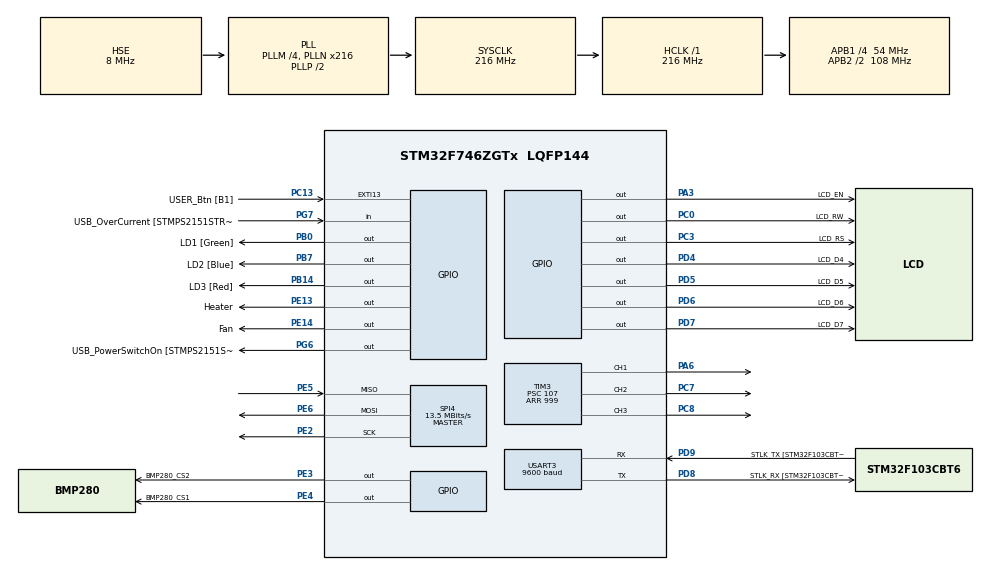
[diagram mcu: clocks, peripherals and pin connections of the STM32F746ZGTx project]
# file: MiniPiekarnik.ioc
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Mcu.Family=STM32F7
Mcu.Name=STM32F746ZGTx
Mcu.Package=LQFP144
NVIC.PriorityGroup=NVIC_PRIORITYGROUP_4
NVIC.TIM2_IRQn=true\:0\:0\:false\:false\:true\:true\:true
NVIC.USART3_IRQn=true\:0\:0\:false\:false\:true\:true\:true
PA1.GPIO_Label=RMII_REF_CLK [LAN8742A-CZ-TR_REFCLK0]
PA1.Signal=ETH_REF_CLK
PA10.GPIO_Label=USB_ID
PA10.Signal=USB_OTG_FS_ID
PA11.GPIO_Label=USB_DM
PA11.Signal=USB_OTG_FS_DM
PA12.GPIO_Label=USB_DP
PA12.Signal=USB_OTG_FS_DP
PA13.GPIO_Label=TMS
PA13.Mode=Serial_Wire
PA13.Signal=SYS_JTMS-SWDIO
PA14.GPIO_Label=TCK
PA14.Mode=Serial_Wire
PA14.Signal=SYS_JTCK-SWCLK
PA2.GPIO_Label=RMII_MDIO [LAN8742A-CZ-TR_MDIO]
PA2.Signal=ETH_MDIO
PA3.GPIO_Label=LCD_EN
PA3.Signal=GPIO_Output
PA6.Signal=S_TIM3_CH1
PA7.GPIO_Label=RMII_CRS_DV [LAN8742A-CZ-TR_CRS_DV]
PA7.Signal=ETH_CRS_DV
PA8.GPIO_Label=USB_SOF [TP1]
PA8.Signal=USB_OTG_FS_SOF
PA9.GPIO_Label=USB_VBUS
PA9.Signal=USB_OTG_FS_VBUS
PB0.GPIO_Label=LD1 [Green]
PB0.Signal=GPIO_Output
PB13.GPIO_Label=RMII_TXD1 [LAN8742A-CZ-TR_TXD1]
PB13.Signal=ETH_TXD1
PB14.GPIO_Label=LD3 [Red]
PB14.Signal=GPIO_Output
PB3.GPIO_Label=SW0
PB3.Signal=SYS_JTDO-SWO
PB7.GPIO_Label=LD2 [Blue]
PB7.Signal=GPIO_Output
PC0.GPIO_Label=LCD_RW
PC0.Signal=GPIO_Output
PC1.GPIO_Label=RMII_MDC [LAN8742A-CZ-TR_MDC]
PC1.Signal=ETH_MDC
PC13.GPIO_Label=USER_Btn [B1]
PC13.Signal=GPXTI13
PC14/OSC32_IN.Mode=LSE-External-Oscillator
PC14/OSC32_IN.Signal=RCC_OSC32_IN
PC15/OSC32_OUT.Mode=LSE-External-Oscillator
PC15/OSC32_OUT.Signal=RCC_OSC32_OUT
PC3.GPIO_Label=LCD_RS
PC3.Signal=GPIO_Output
PC4.GPIO_Label=RMII_RXD0 [LAN8742A-CZ-TR_RXD0]
PC4.Signal=ETH_RXD0
PC5.GPIO_Label=RMII_RXD1 [LAN8742A-CZ-TR_RXD1]
PC5.Signal=ETH_RXD1
PC7.Signal=S_TIM3_CH2
PC8.Signal=S_TIM3_CH3
PD4.GPIO_Label=LCD_D4
PD4.Signal=GPIO_Output
PD5.GPIO_Label=LCD_D5
PD5.Signal=GPIO_Output
PD6.GPIO_Label=LCD_D6
PD6.Signal=GPIO_Output
PD7.GPIO_Label=LCD_D7
PD7.Signal=GPIO_Output
PD8.GPIO_Label=STLK_RX [STM32F103CBT6_PA3]
PD8.Mode=Asynchronous
PD8.Signal=USART3_TX
PD9.GPIO_Label=STLK_TX [STM32F103CBT6_PA2]
PD9.Mode=Asynchronous
PD9.Signal=USART3_RX
PE13.GPIO_Label=Heater
PE13.Signal=GPIO_Output
PE14.GPIO_Label=Fan
PE14.Signal=GPIO_Output
PE2.Mode=Full_Duplex_Master
PE2.Signal=SPI4_SCK
PE3.GPIO_Label=BMP280_CS2
PE3.Signal=GPIO_Output
PE4.GPIO_Label=BMP280_CS1
PE4.GPIO_Speed=GPIO_SPEED_FREQ_VERY_HIGH
PE4.PinState=GPIO_PIN_SET
PE4.Signal=GPIO_Output
PE5.Mode=Full_Duplex_Master
PE5.Signal=SPI4_MISO
PE6.Mode=Full_Duplex_Master
PE6.Signal=SPI4_MOSI
PG11.GPIO_Label=RMII_TX_EN [LAN8742A-CZ-TR_TXEN]
PG11.Signal=ETH_TX_EN
PG13.GPIO_Label=RMII_TXD0 [LAN8742A-CZ-TR_TXD0]
PG13.Signal=ETH_TXD0
PG6.GPIO_Label=USB_PowerSwitchOn [STMPS2151STR_EN]
PG6.Signal=GPIO_Output
PG7.GPIO_Label=USB_OverCurrent [STMPS2151STR_FAULT]
PG7.Signal=GPIO_Input
PH0/OSC_IN.GPIO_Label=MCO [STM32F103CBT6_PA8]
PH0/OSC_IN.Mode=HSE-External-Clock-Source
PH0/OSC_IN.Signal=RCC_OSC_IN
PH1/OSC_OUT.Mode=HSE-External-Clock-Source
PH1/OSC_OUT.Signal=RCC_OSC_OUT
ProjectManager.HeapSize=0x200
ProjectManager.StackSize=0x400
ProjectManager.TargetToolchain=STM32CubeIDE
RCC.48MHZClocksFreq_Value=24000000
RCC.AHBFreq_Value=216000000
RCC.APB1CLKDivider=RCC_HCLK_DIV4
RCC.APB1Freq_Value=54000000
RCC.APB1TimFreq_Value=108000000
RCC.APB2CLKDivider=RCC_HCLK_DIV2
RCC.APB2Freq_Value=108000000
RCC.APB2TimFreq_Value=216000000
RCC.CortexFreq_Value=216000000
RCC.HCLKFreq_Value=216000000
RCC.HSE_VALUE=8000000
RCC.HSI_VALUE=16000000
RCC.PLLM=4
RCC.PLLMUL=RCC_PLL_MUL9
RCC.PLLN=216
RCC.PLLQ=3
RCC.PLLSourceVirtual=RCC_PLLSOURCE_HSE
RCC.PRESCALERUSB=RCC_USBCLKSOURCE_PLL_DIV1_5
RCC.SYSCLKFreq_VALUE=216000000
RCC.SYSCLKSource=RCC_SYSCLKSOURCE_PLLCLK
RCC.SYSCLKSourceVirtual=RCC_SYSCLKSOURCE_PLLCLK
RCC.USBFreq_Value=144000000
RCC.VCOOutputFreq_Value=432000000
SH.S_TIM3_CH1.0=TIM3_CH1,PWM Generation1 CH1
SH.S_TIM3_CH2.0=TIM3_CH2,PWM Generation2 CH2
SH.S_TIM3_CH3.0=TIM3_CH3,PWM Generation3 CH3
SPI4.BaudRatePrescaler=SPI_BAUDRATEPRESCALER_8
SPI4.CLKPhase=SPI_PHASE_2EDGE
SPI4.CLKPolarity=SPI_POLARITY_HIGH
SPI4.CalculateBaudRate=13.5 MBits/s
SPI4.DataSize=SPI_DATASIZE_8BIT
SPI4.Direction=SPI_DIRECTION_2LINES
SPI4.Mode=SPI_MODE_MASTER
SPI4.VirtualType=VM_MASTER
TIM2.Period=999999
TIM2.Prescaler=71
TIM3.Channel-PWM\ Generation1\ CH1=TIM_CHANNEL_1
TIM3.Channel-PWM\ Generation2\ CH2=TIM_CHANNEL_2
TIM3.Channel-PWM\ Generation3\ CH3=TIM_CHANNEL_3
TIM3.OCMode_PWM-PWM\ Generation2\ CH2=TIM_OCMODE_PWM1
TIM3.Period=999
TIM3.Prescaler=107
TIM3.Pulse-PWM\ Generation1\ CH1=500
TIM3.Pulse-PWM\ Generation2\ CH2=500
TIM3.Pulse-PWM\ Generation3\ CH3=500
TIM4.Period=19999
TIM4.Prescaler=10799
TIM5.Prescaler=107
TIM6.Period=999
TIM6.Prescaler=107
TIM7.Prescaler=107
USART3.BaudRate=9600
USART3.VirtualMode-Asynchronous=VM_ASYNC
VP_TIM2_VS_ClockSourceINT.Mode=Internal
VP_TIM3_VS_ClockSourceINT.Mode=Internal
VP_TIM4_VS_ClockSourceINT.Mode=Internal
VP_TIM5_VS_ClockSourceINT.Mode=Internal
VP_TIM6_VS_ClockSourceINT.Mode=Enable_Timer
VP_TIM7_VS_ClockSourceINT.Mode=Enable_Timer
board=NUCLEO-F746ZG

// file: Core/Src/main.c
/* USER CODE BEGIN Header */
/**
 ******************************************************************************
 * @file           : main.c
 * @brief          : Main program body
 ******************************************************************************
 * @attention
 *
 * <h2><center>&copy; Copyright (c) 2022 STMicroelectronics.
 * All rights reserved.</center></h2>
 *
 * This software component is licensed by ST under BSD 3-Clause license,
 * the "License"; You may not use this file except in compliance with the
 * License. You may obtain a copy of the License at:
 *                        opensource.org/licenses/BSD-3-Clause
 *
 ******************************************************************************
 */
/* USER CODE END Header */
#include "main.h"
#include "spi.h"
#include "tim.h"
#include "usart.h"
#include "gpio.h"

/* USER CODE BEGIN Includes */
#include <stdlib.h>
#include "bmp280.h"
#include "bmp280_defs.h"
#include "lcd_config.h"
/* USER CODE END Includes */

/* USER CODE BEGIN PTD */
#define BMP280_SPI (&hspi4)
#define BMP280_CS1 1
//#define BMP280_CS1 2
/* USER CODE END PTD */

/* USER CODE BEGIN PV */
int8_t rslt;
int32_t temp32;
double temp;
TIM_HandleTypeDef htim2;
double BMP280_temp;
float swv_temp;
char buffer[100];

////////TEMPERATURA ////

uint8_t error;
double Temp_Ref = 26;
double Temp_Diff;
double TempRecived;
double TempRecived2;

uint8_t Received[4];
static unsigned short heater_state,fan_state;
/* USER CODE END PV */

void SystemClock_Config(void);
/* USER CODE BEGIN PFP */
void HAL_UART_RxCpltCallback (UART_HandleTypeDef *huart)
{

	TempRecived2=atoi(Received);
	TempRecived = TempRecived2/100;

	if (TempRecived < 21.0)
	{
		error = sprintf(buffer,"Incorrect value\n\r ");
		HAL_UART_Transmit(&huart3, (uint8_t*)buffer, error, 200);
		LCD_SetCursor(&hlcd1, 1, 0);
		LCD_printf(&hlcd1, "Incorrect value");
		lcd_delay_us(&hlcd1, 1000000);
//		LCD_Clear(&hlcd1);

	}
	else if (TempRecived > 30.0)
	{
		error = sprintf(buffer,"Incorrect value\n\r ");
		HAL_UART_Transmit(&huart3, (uint8_t*)buffer, error, 200);
		LCD_SetCursor(&hlcd1, 1, 0);
		LCD_printf(&hlcd1, "Incorrect value");
		lcd_delay_us(&hlcd1, 1000000);
//		LCD_Clear(&hlcd1);
	}
	else
	{
		Temp_Ref = TempRecived;
		LCD_SetCursor(&hlcd1, 1, 0);
		LCD_printf(&hlcd1, "Set %4.2f[degC]", Temp_Ref);
		lcd_delay_us(&hlcd1, 1000000);
//		LCD_Clear(&hlcd1);
	}

}

int8_t bmp280_spi_reg_write(uint8_t cs, uint8_t reg_addr, uint8_t *reg_data,
		uint16_t length);
int8_t bmp280_spi_reg_read(uint8_t cs, uint8_t reg_addr, uint8_t *reg_data,
		uint16_t length);

void HAL_TIM_PeriodElapsedCallback(TIM_HandleTypeDef *htim)
{
	if (htim->Instance == TIM2)
	{

		swv_temp = (float)temp;
		BMP280_temp = sprintf(buffer, "BMP280 Temp: %.2f [degC] \n\r", temp);  // Do zrobienia na floaty
		HAL_UART_Transmit(&huart3, (uint8_t*)buffer, BMP280_temp, 950);

		LCD_SetCursor(&hlcd1, 0, 0);
		LCD_printf(&hlcd1, "Temp %4.2f[degC]" , temp);

	}
}

///////////////// STATE CHANGE ////////

void State_Change (double TR, double t) ////dodatkowo temp zadana bedzie potem
{
	Temp_Diff=TR-t;
	if(Temp_Diff > 0.04){
		heater_state=1;
		fan_state=0;
		__HAL_TIM_SET_COMPARE(&htim3, TIM_CHANNEL_1, 1000);
		__HAL_TIM_SET_COMPARE(&htim3, TIM_CHANNEL_2, 0);
		__HAL_TIM_SET_COMPARE(&htim3, TIM_CHANNEL_3, 0);
	}
	else if(Temp_Diff<-0.10){
		heater_state=0;
		fan_state=1;
		__HAL_TIM_SET_COMPARE(&htim3, TIM_CHANNEL_1, 0);
		__HAL_TIM_SET_COMPARE(&htim3, TIM_CHANNEL_2, 0);
		__HAL_TIM_SET_COMPARE(&htim3, TIM_CHANNEL_3, 1000);
	}
	else
	{
		heater_state=0;
		fan_state=0;
		__HAL_TIM_SET_COMPARE(&htim3, TIM_CHANNEL_1, 0);
		__HAL_TIM_SET_COMPARE(&htim3, TIM_CHANNEL_2, 1000);
		__HAL_TIM_SET_COMPARE(&htim3, TIM_CHANNEL_3, 0);
	}

}

void States_Run(){

}

/* USER CODE END PFP */

/* USER CODE BEGIN 0 */
struct bmp280_dev bmp280_1 = {
		.dev_id = BMP280_CS1,
		.intf = BMP280_SPI_INTF,
		.read = bmp280_spi_reg_read,
		.write = bmp280_spi_reg_write,
		.delay_ms = HAL_Delay
};
struct bmp280_uncomp_data bmp280_1_data;

/* USER CODE END 0 */

int main(void)
{

  /* MCU Configuration--------------------------------------------------------*/

  /* Reset of all peripherals, Initializes the Flash interface and the Systick. */
  HAL_Init();

  /* Configure the system clock */
  SystemClock_Config();

  /* Initialize all configured peripherals */
  MX_GPIO_Init();
  MX_USART3_UART_Init();
  MX_SPI4_Init();
  MX_TIM2_Init();
  MX_TIM5_Init();
  MX_TIM4_Init();
  MX_TIM3_Init();
  MX_TIM6_Init();
  MX_TIM7_Init();
  /* USER CODE BEGIN 2 */

	struct bmp280_config conf;
	rslt = bmp280_init(&bmp280_1);
	rslt = bmp280_get_config(&conf, &bmp280_1);
	conf.filter = BMP280_FILTER_OFF;
	conf.os_temp = BMP280_OS_1X;
	conf.os_pres = BMP280_OS_1X;
	conf.odr = BMP280_ODR_1000_MS;
	rslt = bmp280_set_config(&conf, &bmp280_1);
	rslt = bmp280_set_power_mode(BMP280_NORMAL_MODE, &bmp280_1);

	HAL_TIM_Base_Start_IT(&htim2);
	//	HAL_TIM_Base_Start_IT(&htim4);
	HAL_TIM_PWM_Start(&htim3, TIM_CHANNEL_1);
	HAL_TIM_PWM_Start(&htim3, TIM_CHANNEL_2);
	HAL_TIM_PWM_Start(&htim3, TIM_CHANNEL_3);

	LCD_Init(&hlcd1);
  /* USER CODE END 2 */

  /* Infinite loop */
  /* USER CODE BEGIN WHILE */
	while (1)
	{
		rslt = bmp280_get_uncomp_data(&bmp280_1_data, &bmp280_1);
		rslt = bmp280_get_comp_temp_32bit(&temp32, bmp280_1_data.uncomp_temp, &bmp280_1);
		rslt = bmp280_get_comp_temp_double(&temp, bmp280_1_data.uncomp_temp, &bmp280_1);
		bmp280_1.delay_ms(1000);

		/////// STATES RUN AND STATES CHANGE

		//		States_Run(heater_state,fan_state);
		HAL_GPIO_WritePin(Heater_GPIO_Port, Heater_Pin, heater_state);  	// Heater control
		HAL_GPIO_WritePin(Fan_GPIO_Port, Fan_Pin, fan_state);

		State_Change(Temp_Ref,temp);
		HAL_UART_Receive_IT(&huart3, Received, 4);

    /* USER CODE END WHILE */

	}
}

void SystemClock_Config(void)
{
  RCC_OscInitTypeDef RCC_OscInitStruct = {0};
  RCC_ClkInitTypeDef RCC_ClkInitStruct = {0};
  RCC_PeriphCLKInitTypeDef PeriphClkInitStruct = {0};

  /** Configure LSE Drive Capability
  */
  HAL_PWR_EnableBkUpAccess();
  /** Configure the main internal regulator output voltage
  */
  __HAL_RCC_PWR_CLK_ENABLE();
  __HAL_PWR_VOLTAGESCALING_CONFIG(PWR_REGULATOR_VOLTAGE_SCALE1);
  /** Initializes the RCC Oscillators according to the specified parameters
  * in the RCC_OscInitTypeDef structure.
  */
  RCC_OscInitStruct.OscillatorType = RCC_OSCILLATORTYPE_HSE;
  RCC_OscInitStruct.HSEState = RCC_HSE_BYPASS;
  RCC_OscInitStruct.PLL.PLLState = RCC_PLL_ON;
  RCC_OscInitStruct.PLL.PLLSource = RCC_PLLSOURCE_HSE;
  RCC_OscInitStruct.PLL.PLLM = 4;
  RCC_OscInitStruct.PLL.PLLN = 216;
  RCC_OscInitStruct.PLL.PLLP = RCC_PLLP_DIV2;
  RCC_OscInitStruct.PLL.PLLQ = 3;
  if (HAL_RCC_OscConfig(&RCC_OscInitStruct) != HAL_OK)
  {
    Error_Handler();
  }
  /** Activate the Over-Drive mode
  */
  if (HAL_PWREx_EnableOverDrive() != HAL_OK)
  {
    Error_Handler();
  }
  /** Initializes the CPU, AHB and APB buses clocks
  */
  RCC_ClkInitStruct.ClockType = RCC_CLOCKTYPE_HCLK|RCC_CLOCKTYPE_SYSCLK
                              |RCC_CLOCKTYPE_PCLK1|RCC_CLOCKTYPE_PCLK2;
  RCC_ClkInitStruct.SYSCLKSource = RCC_SYSCLKSOURCE_PLLCLK;
  RCC_ClkInitStruct.AHBCLKDivider = RCC_SYSCLK_DIV1;
  RCC_ClkInitStruct.APB1CLKDivider = RCC_HCLK_DIV4;
  RCC_ClkInitStruct.APB2CLKDivider = RCC_HCLK_DIV2;

  if (HAL_RCC_ClockConfig(&RCC_ClkInitStruct, FLASH_LATENCY_7) != HAL_OK)
  {
    Error_Handler();
  }
  PeriphClkInitStruct.PeriphClockSelection = RCC_PERIPHCLK_USART3;
  PeriphClkInitStruct.Usart3ClockSelection = RCC_USART3CLKSOURCE_PCLK1;
  if (HAL_RCCEx_PeriphCLKConfig(&PeriphClkInitStruct) != HAL_OK)
  {
    Error_Handler();
  }
}

/* USER CODE BEGIN 4 */

#define BMP280_SPI_BUFFER_LEN 28
#define BMP280_DATA_INDEX 1
/*!
 * @brief Function for writing the sensor 's registers through SPI bus.
 *
 * @param [in] cs : Chip select to enable the sensor .
 * @param [in] reg_addr : Register address .
 * @param [in] reg_data : Pointer to the data buffer whose data has to be
written
 * @param [in] length : No of bytes to write .
 *
 * @return Status of execution
 * @retval 0 -> Success
 * @retval >0 -> Failure Info
 *
 */
int8_t bmp280_spi_reg_write (uint8_t cs, uint8_t reg_addr, uint8_t
		*reg_data, uint16_t length)
{
	/* Implement the SPI write routine according to the target machine . */
	HAL_StatusTypeDef status = HAL_OK ;
	int32_t iError = BMP280_OK;
	uint8_t txarray[BMP280_SPI_BUFFER_LEN];
	uint8_t stringpos;
	/* Copy register address and data to tx buffer */
	txarray[0] = reg_addr;
	for (stringpos = 0; stringpos < length; stringpos++)
	{
		txarray[stringpos + BMP280_DATA_INDEX] = reg_data[stringpos];
	}
	// memcpy ( txarray + BMP280_DATA_INDEX , reg_data , length );
	/* Software slave selection procedure */
	if(cs == BMP280_CS1)
		HAL_GPIO_WritePin(BMP280_CS1_GPIO_Port, BMP280_CS1_Pin, GPIO_PIN_RESET);
	/* Data exchange */
	status = HAL_SPI_Transmit(BMP280_SPI, (uint8_t*)(&txarray), length+1, 100);
	while (BMP280_SPI->State == HAL_SPI_STATE_BUSY) {};
	/* Disable all slaves */
	HAL_GPIO_WritePin(BMP280_CS1_GPIO_Port, BMP280_CS1_Pin, GPIO_PIN_SET);
	if (status != HAL_OK)
	{
		// The BMP280 API calls for 0 return value as a success , and -1 returned as
		iError = (-1);
	}
	return (int8_t)iError;
}

/*!
 * @brief Function for reading the sensor 's registers through SPI bus.
 *
 * @param [in] cs : Chip select to enable the sensor .
 * @param [in] reg_addr : Register address .
 * @param [ out] reg_data : Pointer to the data buffer to store the read
data .
 * @param [in] length : No of bytes to read .
 *
 * @return Status of execution
 * @retval 0 -> Success
 * @retval >0 -> Failure Info
 *
 */
int8_t bmp280_spi_reg_read(uint8_t cs, uint8_t reg_addr, uint8_t *reg_data,
		uint16_t length)
{
	/* Implement the SPI read routine according to the target machine . */
	HAL_StatusTypeDef status = HAL_OK;
	int32_t iError = BMP280_OK;
	uint8_t txarray [BMP280_SPI_BUFFER_LEN] = {0 ,};
	uint8_t rxarray [BMP280_SPI_BUFFER_LEN] = {0 ,};
	uint8_t stringpos;
	txarray[0] = reg_addr;
	/* Software slave selection procedure */
	if(cs == BMP280_CS1)
		HAL_GPIO_WritePin(BMP280_CS1_GPIO_Port, BMP280_CS1_Pin, GPIO_PIN_RESET);
	/* Data exchange */
	status = HAL_SPI_TransmitReceive (BMP280_SPI, (uint8_t*) (&txarray),
			(uint8_t*)(&rxarray), length+1, 5);
	while (BMP280_SPI->State == HAL_SPI_STATE_BUSY) {};
	/* Disable all slaves */
	HAL_GPIO_WritePin(BMP280_CS1_GPIO_Port, BMP280_CS1_Pin, GPIO_PIN_SET);
	/* Copy data from rx buffer */
	for (stringpos = 0; stringpos < length ; stringpos++)
	{
		reg_data[stringpos] = rxarray[stringpos + BMP280_DATA_INDEX];
	}
	// memcpy ( reg_data , rxarray + BMP280_DATA_INDEX , length );
	if (status != HAL_OK)
	{
		// The BME280 API calls for 0 return value as a success , and -1 returned

		iError = (-1);
	}
	return (int8_t)iError;
}

/* USER CODE END 4 */

void Error_Handler(void)
{
	__disable_irq();
	while (1)
	{
	}
}

/************************ (C) COPYRIGHT STMicroelectronics *****END OF FILE****/
